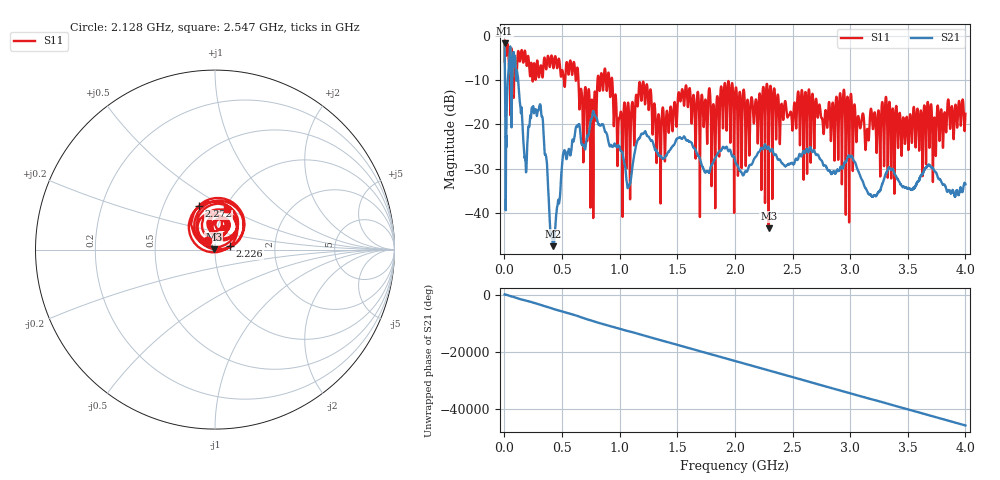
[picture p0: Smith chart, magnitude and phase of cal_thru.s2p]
!Created with skrf (http://scikit-rf.org).
# GHz S RI R 50.0
!freq ReS11 ImS11 ReS21 ImS21 ReS12 ImS12 ReS22 ImS22
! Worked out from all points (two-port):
!   4000 points, 1 MHz to 4 GHz, reference 50 ohm
!   highest |S21| = -1.57 dB at 1 MHz (marker M1); lowest = -47.6 dB at 420 MHz (marker M2)
!   |S21| within 3 dB of the highest: 42.96 MHz to 54.14 MHz (11.18 MHz wide, 23 % of centre); 75.09 MHz to 83.05 MHz (7.962 MHz wide, 10.1 % of centre) (the widest 2 of 4)
!   lowest |S11| = -43.5 dB at 2.293 GHz (marker M3), VSWR 1.01, Z = 49.3 + j0.0957 ohm
!   |S11| at or under -10 dB: 641.9 MHz to 807.1 MHz (165.2 MHz wide, 22.8 % of centre); 909.6 MHz to 927.3 MHz (17.75 MHz wide, 1.93 % of centre); 935.4 MHz to end of sweep (the widest 3 of 11)
!   S12 and S22 are empty: the file has one direction only
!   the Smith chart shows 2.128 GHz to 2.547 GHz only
!   S11 on the Smith chart (normalised r, x): 2.128 GHz: 0.91, +0.09; 2.226 GHz: 1.18, +0.05; 2.272 GHz: 0.75, +0.39; 2.547 GHz: 1.03, +0.49
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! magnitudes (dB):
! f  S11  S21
! 1 MHz  -5.7  -1.6
! 94 MHz  -6.8  -5.4
! 181 MHz  -3.7  -28.1
! 315 MHz  -6.6  -16.1
! 420 MHz  -6.4  -47.6
! 513 MHz  -9.4  -26.5
! 668 MHz  -12.3  -24.4
! 759 MHz  -14.5  -18.6
! 886 MHz  -12.2  -22.0
! 1.077 GHz  -15.9  -33.8
! 1.189 GHz  -14.5  -22.1
! 1.334 GHz  -18.0  -26.8
! 1.528 GHz  -14.7  -23.0
! 2.001 GHz  -14.0  -28.2
! 2.128 GHz  -23.5  -29.2
! 2.226 GHz  -21.2  -25.4
! 2.272 GHz  -11.7  -25.3
! 2.293 GHz  -43.5  -25.1
! 2.547 GHz  -12.6  -27.9
! 2.667 GHz  -14.4  -26.1
! 3.334 GHz  -17.3  -29.8
! 4 GHz  -17.6  -33.6
